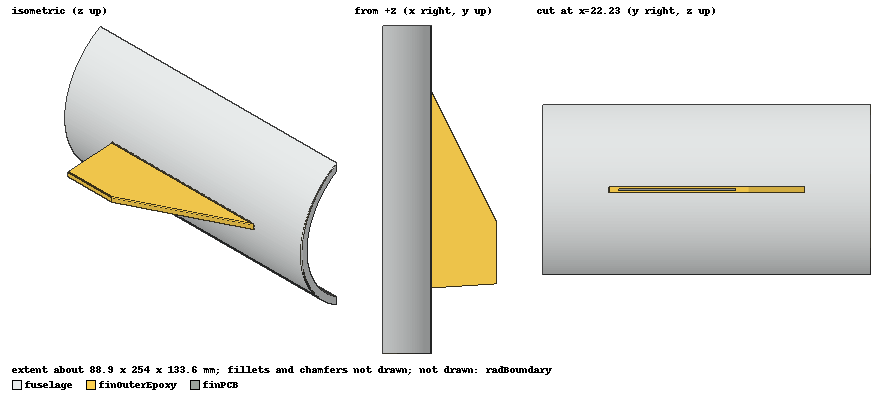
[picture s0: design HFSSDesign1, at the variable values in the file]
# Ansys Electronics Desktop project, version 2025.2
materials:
  vacuum: permittivity=1
  aluminum: permeability=1.000021 conductivity=38000000
  FR4_epoxy: permittivity=4.4 dielectric_loss_tangent=0.02
  air: permittivity=1.0006 permeability=1.0000004
  quartz_glass: permittivity=3.78
  cyanate_ester: permittivity=3.8

design HFSSDesign1 (HFSS, HFSS Terminal Network, model units mm)
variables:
  fuselageOD = 152.4mm
  fuselageLength = 254mm
  fuselageWallThickness = 6.35mm
  finLength = 6in
  substrateHeight = 0.8mm
  finWidth = 2in
  tabLength = 1in
  epoxyThickness = 3.175mm
  copperThickness = 0.035mm
  tipChord = 1.875in
  sweepDistance = 4in
  pcbOffset = 0.25in
  finThickness = 0.1875in
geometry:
  fuselage [aluminum] = cylinder(axis=Y, base_centre=(-fuselageOD/2, -fuselageLength/2, 0mm), radius=fuselageOD/2, height=fuselageLength, segments=200)
  fuselageInner = cylinder(axis=Y, base_centre=(-fuselageOD/2, -fuselageLength/2, 0mm), radius=fuselageOD/2-fuselageWallThickness, height=fuselageLength, segments=200)
  fuselage.subtract(fuselageInner)
  radBoundary [air] = box(corner=(-fuselageOD/4, -(fuselageLength+30mm)/2, -fuselageOD/2), size=(110mm, fuselageLength+30mm, fuselageOD))
  radBoundary1 = box(corner=(-fuselageOD/4, -(fuselageLength+30mm)/2, -fuselageOD/2), size=(110mm, fuselageLength+30mm, fuselageOD))
  fuselage.intersect(radBoundary1)
  finOuterEpoxy [cyanate_ester] = polyline(z=0mm, xy: (0mm, finLength/2) (0mm, -finLength/2) (finWidth, finLength/2-sweepDistance-tipChord) (finWidth, finLength/2-sweepDistance) (0mm, finLength/2), closed, covered)
  finPCB [FR4_epoxy] = polyline(z=0mm, xy: (0mm, finLength/2-pcbOffset) (0mm, -finLength/2+pcbOffset) (finWidth-pcbOffset, finLength/2-sweepDistance-tipChord+pcbOffset) (finWidth-pcbOffset, finLength/2-sweepDistance) (0mm, finLength/2-pcbOffset), closed, covered)
  finOuterEpoxy.thicken(finThickness, both sides)
  finPCB.thicken(substrateHeight, both sides)
  finOuterEpoxy.chamfer(Edges=finOuterEpoxy.edge(at (50.8, -49.2125, 2.38125), at (25.4, 25.4, 2.38125), at (25.4, 25.4, -2.38125), at (50.8, -49.2125, -2.38125), at (25.4, -74.6125, -2.38125), at (25.4, -74.6125, 2.38125)) LeftDistance=finThickness/2 RightDistance=finThickness/2 ChamferType=Symmetric ChamferAdditionalGeometryInfo{ChamferEdgeGeometryInfo{ChamferEdgeID=5990 ChamferEdgeSense ChamferEdgeStart{X=50.8mm Y=-73.025mm Z=2.38125mm} ChamferEdgeEnd{X=50.8mm Y=-25.4mm Z=2.38125mm} ChamferEdgeMid{X=50.8mm Y=-49.2125mm Z=2.38125mm} ChamferEdgeMidTangent(0, 1, 0)} ChamferEdgeGeometryInfo{ChamferEdgeID=5991 ChamferEdgeSense ChamferEdgeStart{X=0mm Y=-76.2mm Z=2.38125mm} ChamferEdgeEnd{X=50.8mm Y=-73.025mm Z=2.38125mm} ChamferEdgeMid{X=25.4mm Y=-74.6125mm Z=2.38125mm} ChamferEdgeMidTangent(0.99805258, 0.062378286, 0)} ChamferEdgeGeometryInfo{ChamferEdgeID=5993 ChamferEdgeSense ChamferEdgeStart{X=50.8mm Y=-25.4mm Z=2.38125mm} ChamferEdgeEnd{X=0mm Y=76.2mm Z=2.38125mm} ChamferEdgeMid{X=25.4mm Y=25.4mm Z=2.38125mm} ChamferEdgeMidTangent(-0.4472136, 0.89442719, 0)} ChamferEdgeGeometryInfo{ChamferEdgeID=5994 ChamferEdgeSense ChamferEdgeStart{X=50.8mm Y=-73.025mm Z=-2.38125mm} ChamferEdgeEnd{X=50.8mm Y=-25.4mm Z=-2.38125mm} ChamferEdgeMid{X=50.8mm Y=-49.2125mm Z=-2.38125mm} ChamferEdgeMidTangent(0, 1, 0)} ChamferEdgeGeometryInfo{ChamferEdgeID=5995 ChamferEdgeSense ChamferEdgeStart{X=0mm Y=-76.2mm Z=-2.38125mm} ChamferEdgeEnd{X=50.8mm Y=-73.025mm Z=-2.38125mm} ChamferEdgeMid{X=25.4mm Y=-74.6125mm Z=-2.38125mm} ChamferEdgeMidTangent(0.99805258, 0.062378286, 0)} ChamferEdgeGeometryInfo{ChamferEdgeID=5997 ChamferEdgeSense ChamferEdgeStart{X=50.8mm Y=-25.4mm Z=-2.38125mm} ChamferEdgeEnd{X=0mm Y=76.2mm Z=-2.38125mm} ChamferEdgeMid{X=25.4mm Y=25.4mm Z=-2.38125mm} ChamferEdgeMidTangent(-0.4472136, 0.89442719, 0)}})
  epoxyTab = box(corner=(-tabLength-fuselageWallThickness, -finLength/2, -finThickness/2), size=(tabLength+fuselageWallThickness, finLength, finThickness))
  PCBTab [FR4_epoxy] = box(corner=(-tabLength-fuselageWallThickness, -(finLength-2*pcbOffset)/2, -substrateHeight/2), size=(tabLength+fuselageWallThickness, finLength-2*pcbOffset, substrateHeight))
  PCBTab1 = box(corner=(-tabLength-fuselageWallThickness, -(finLength-2*pcbOffset)/2, -(substrateHeight+2*copperThickness)/2), size=(tabLength+fuselageWallThickness, finLength-2*pcbOffset, substrateHeight+2*copperThickness))
  epoxyTab1 = box(corner=(-tabLength-fuselageWallThickness, -finLength/2, -finThickness/2), size=(tabLength+fuselageWallThickness, finLength, finThickness))
  fuselage.subtract(epoxyTab1)
  finPCB1 = polyline(z=0mm, xy: (0mm, finLength/2-pcbOffset) (0mm, -finLength/2+pcbOffset) (finWidth-pcbOffset, finLength/2-sweepDistance-tipChord+pcbOffset) (finWidth-pcbOffset, finLength/2-sweepDistance) (0mm, finLength/2-pcbOffset), closed, covered)
  finPCB1.thicken(substrateHeight+2*copperThickness, both sides)
  PCBTab1.unite(finPCB1)
  finOuterEpoxy.unite(epoxyTab)
  finOuterEpoxy.subtract(PCBTab1)
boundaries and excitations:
  Rad1: Radiation Objects=radBoundary
